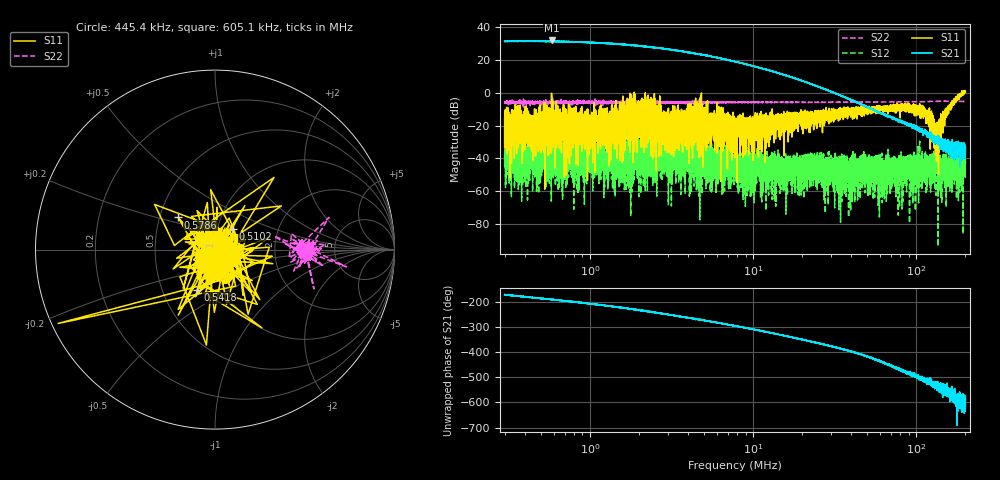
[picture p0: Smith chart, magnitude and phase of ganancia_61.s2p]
# Hz S DB R 50
! CMT, M5065, 19127446, 24.2.4/2
! Date: 11/1/2024 4:51:48 PM
! Data: Format (Calibration Info)
! Freq	S11:dB/Ang(F2)	S21:dB/Ang(F2)	S12:dB/Ang(F2)	S22:dB/Ang(F2)
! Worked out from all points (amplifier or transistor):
!   9000 points, 300 kHz to 200 MHz, reference 50 ohm
!   highest |S21| = 32.0 dB at 581.9 kHz (marker M1)
!   |S21| within 3 dB of that: start of sweep to 1.779 MHz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
!   unconditionally stable (mu >= 1): 5.258 MHz to 6.095 MHz; 6.097 MHz to 189.9 MHz; 190.517 MHz to 191.1319 MHz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
!   at 886.8 kHz: K = 1.59, MAG = 32.3 dB, |S12| = -42.7 dB
!   at 7.749 MHz: K = 3.62, MAG = 20.4 dB, |S12| = -38.8 dB
!   at 200 MHz: K = -911.38, MSG = 2.8 dB, |S12| = -43.2 dB
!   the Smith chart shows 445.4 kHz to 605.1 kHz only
!   S11 on the Smith chart (normalised r, x): 445.4 kHz: 1.08, -0.34; 510.2 kHz: 1.19, +0.27; 541.8 kHz: 0.75, -0.36; 578.6 kHz: 0.62, +0.24; 605.1 kHz: 0.96, +0.13
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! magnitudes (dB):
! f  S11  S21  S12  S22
! 300 kHz  -15.1  31.4  -37.6  -5.3
! 319.7 kHz  -20.3  31.5  -49.3  -6.0
! 445.4 kHz  -15.6  31.5  -60.3  -5.9
! 510.2 kHz  -16.4  31.4  -39.7  -6.1
! 541.8 kHz  -12.2  31.5  -37.2  -5.3
! 578.6 kHz  -11.3  31.5  -52.7  -5.9
! 581.9 kHz  -0.3  32.0  -33.9  -4.9
! 605.1 kHz  -23.5  31.4  -40.0  -5.9
! 692.6 kHz  -16.4  31.2  -27.5  -4.8
! 737.6 kHz  -17.6  31.2  -35.8  -6.5
! 791.1 kHz  -15.3  31.0  -32.7  -5.4
! 886.8 kHz  -20.8  30.9  -42.7  -5.8
! 2.621 MHz  -21.3  27.4  -41.5  -5.7
! 4.803 MHz  -19.6  23.4  -40.7  -5.8
! 7.749 MHz  -36.1  19.0  -38.8  -5.7
! 22.91 MHz  -16.5  5.1  -48.7  -5.8
! 67.71 MHz  -10.7  -14.6  -44.9  -5.6
! 106.5 MHz  -9.9  -22.4  -49.7  -5.5
! 122.9 MHz  -12.6  -27.2  -40.0  -5.3
! 132.9 MHz  -22.2  -29.2  -40.7  -5.2
! 158.3 MHz  -10.0  -35.2  -45.0  -5.2
! 200 MHz  0.9  -37.5  -43.2  -5.3
